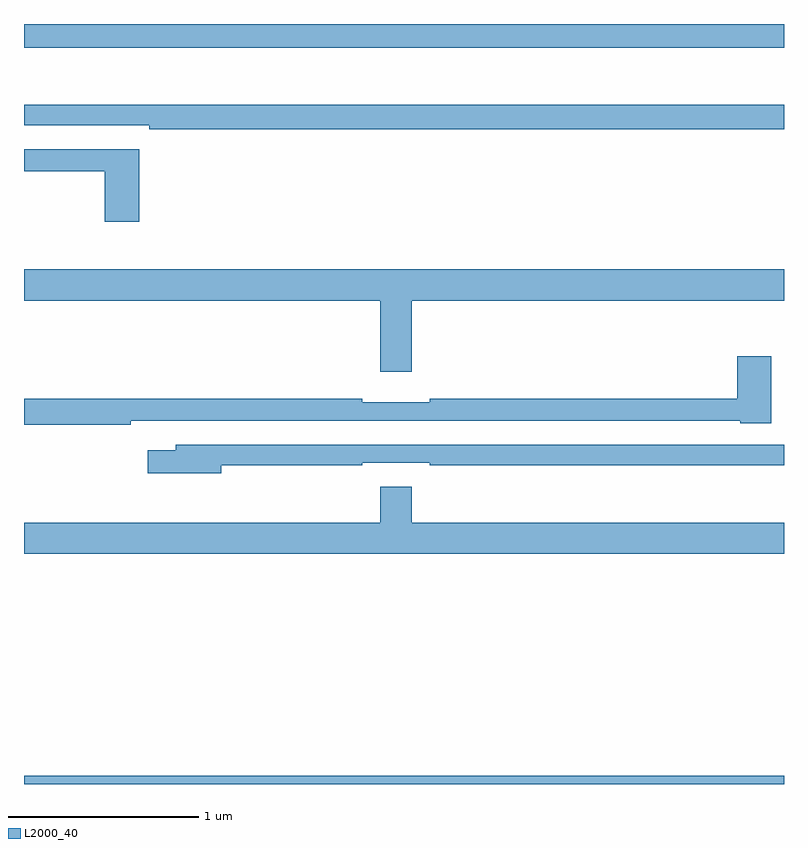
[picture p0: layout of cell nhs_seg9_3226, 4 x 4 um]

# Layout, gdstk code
import gdstk
lib = gdstk.Library(unit=1e-6, precision=1e-09)
def R(c, l, rs):  # rectangles x0, y0, x1, y1
    for r in rs: c.add(gdstk.rectangle(r[:2], r[2:], *l))
def P(c, l, *ps):  # polygons
    for p in ps: c.add(gdstk.Polygon(p, *l))
L2000_40 = (2000, 40)

nhs_seg9_3226 = lib.new_cell('nhs_seg9_3226')
R(nhs_seg9_3226, L2000_40, [(295,1236.5,299,1236.544), (295,1240.376,299,1240.5)])
P(nhs_seg9_3226, L2000_40, [(299,1240.075),(295,1240.075),(295,1239.966),(295.66,1239.966),(295.66,1239.946),(299,1239.946)],
  [(295.607,1239.84),(295,1239.84),(295,1239.724),(295.424,1239.724),(295.424,1239.459),(295.607,1239.459)],
  [(297.04,1239.044),(299,1239.044),(299,1239.208),(295,1239.208),(295,1239.044),(296.876,1239.044),(296.876,1238.67),(297.04,1238.67)],
  [(295.562,1238.412),(298.77,1238.412),(298.77,1238.399),(298.932,1238.399),(298.932,1238.752),(298.754,1238.752),(298.754,1238.528),(297.136,1238.528),(297.136,1238.509),(296.78,1238.509),(296.78,1238.528),(295,1238.528),(295,1238.392),(295.562,1238.392)],
  [(296.038,1238.178),(296.78,1238.178),(296.78,1238.19),(297.136,1238.19),(297.136,1238.178),(299,1238.178),(299,1238.286),(295.799,1238.286),(295.799,1238.257),(295.65,1238.257),(295.65,1238.135),(296.038,1238.135)],
  [(299,1237.876),(297.04,1237.876),(297.04,1238.065),(296.876,1238.065),(296.876,1237.876),(295,1237.876),(295,1237.712),(299,1237.712)])

lib.write_gds('nhs_seg9_3226.gds')
